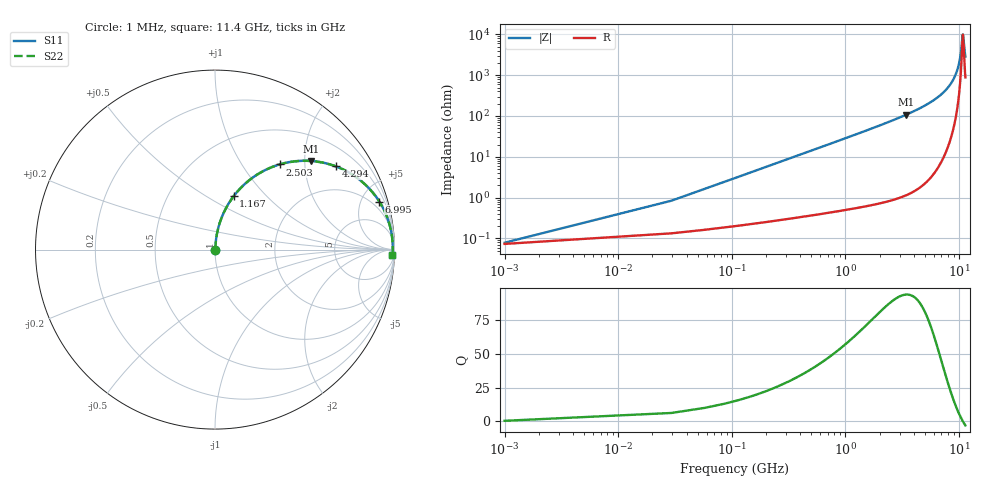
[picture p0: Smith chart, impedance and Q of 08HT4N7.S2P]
! Coilcraft 0805HT-4N7 Chip Inductor
! 24 June 2002
# MHZ S MA R 50
!Freq  MagS11  AngS11  MagS21  AngS21  MagS12  AngS12  MagS22  AngS22
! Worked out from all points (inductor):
!   402 points, 1 MHz to 11.4 GHz, reference 50 ohm
!   read as one part in series: L = 4.5 nH near 57.86 MHz
!   highest Q = 94.3 at 3.413 GHz (marker M1), where L = 5 nH
!   self-resonance near 10.8 GHz
!   S11 on the Smith chart (normalised r, x): 1 MHz: 1.00, +0.00; 1.167 GHz: 1.01, +0.67; 2.503 GHz: 1.02, +1.50; 4.294 GHz: 1.03, +2.88; 6.995 GHz: 1.15, +6.78; 11.4 GHz: 19, -54
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1  0.0007879 21.0  0.9993 -0.0  0.9993 -0.0  0.0007879 21.0
86.29  0.02442 84.2  0.9978 -1.4  0.9978 -1.4  0.02442 84.2
143.15  0.04042 84.5  0.997 -2.3  0.997 -2.3  0.04042 84.5
256.87  0.07233 83.7  0.9946 -4.1  0.9946 -4.1  0.07233 83.7
399.02  0.1119 81.9  0.9904 -6.4  0.9904 -6.4  0.1119 81.9
598.03  0.1666 79.1  0.9822 -9.6  0.9822 -9.6  0.1666 79.1
1166.63  0.3151 70.7  0.944 -18.4  0.944 -18.4  0.3151 70.7
1905.81  0.4834 60.4  0.8693 -28.9  0.8693 -28.9  0.4834 60.4
2502.84  0.5956 52.8  0.7966 -36.6  0.7966 -36.6  0.5956 52.8
3412.6  0.7272 42.7  0.6788 -46.6  0.6788 -46.6  0.7272 42.7
3810.62  0.7718 38.9  0.6276 -50.5  0.6276 -50.5  0.7718 38.9
4293.93  0.8173 34.6  0.5673 -54.8  0.5673 -54.8  0.8173 34.6
5715.43  0.9083 23.9  0.4055 -65.3  0.4055 -65.3  0.9083 23.9
6994.78  0.9535 16.3  0.2811 -72.4  0.2811 -72.4  0.9535 16.3
7620.24  0.9674 13.1  0.2268 -75.2  0.2268 -75.2  0.9674 13.1
8700.58  0.9824 8.1  0.1419 -78.8  0.1419 -78.8  0.9824 8.1
9525.05  0.9882 4.8  0.08361 -79.5  0.08361 -79.5  0.9882 4.8
10235.8  0.9902 2.1  0.03777 -73.8  0.03777 -73.8  0.9902 2.1
10804.4  0.9901 0.1  0.01005 -9.6  0.01005 -9.6  0.9901 0.1
10918.12  0.9899 -0.3  0.01126 26.5  0.01126 26.5  0.9899 -0.3
11173.99  0.9894 -1.1  0.02257 61.4  0.02257 61.4  0.9894 -1.1
11400  0.9887 -1.9  0.03464 70.1  0.03464 70.1  0.9887 -1.9
